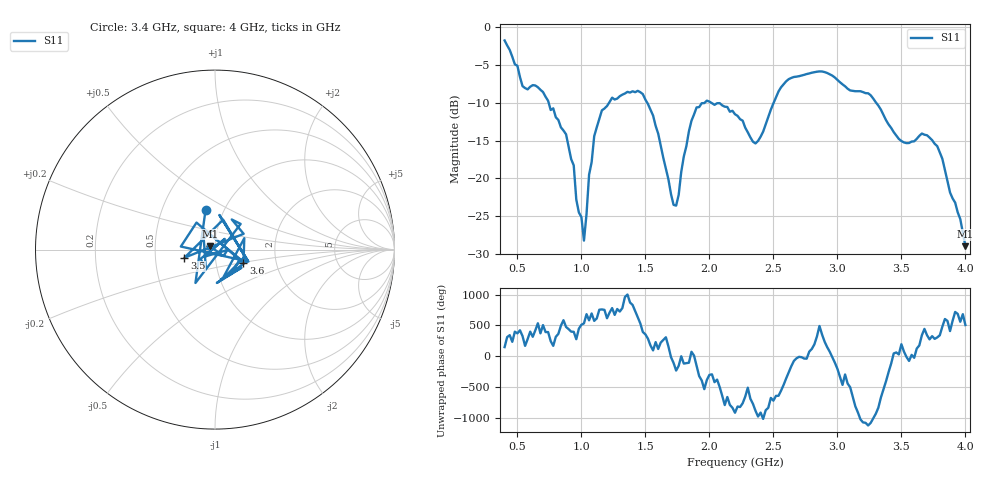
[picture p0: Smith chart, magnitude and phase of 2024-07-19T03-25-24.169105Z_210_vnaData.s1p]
!Created with skrf (http://scikit-rf.org).
# Hz S RI R 50.0
!freq ReS11 ImS11
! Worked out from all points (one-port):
!   181 points, 400 MHz to 4 GHz, reference 50 ohm
!   lowest |S11| = -29.0 dB at 4 GHz (marker M1), VSWR 1.07, Z = 47.1 + j1.89 ohm
!   |S11| at or under -10 dB: 744.2 MHz to 1.216 GHz (472 MHz wide, 48.2 % of centre); 2.015 GHz to 2.502 GHz (486.9 MHz wide, 21.6 % of centre); 3.303 GHz to end of sweep (the widest 3 of 4)
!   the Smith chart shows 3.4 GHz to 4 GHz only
!   S11 on the Smith chart (normalised r, x): 3.4 GHz: 0.82, +0.38; 3.5 GHz: 0.71, -0.07; 3.6 GHz: 1.36, -0.21; 4 GHz: 0.94, +0.04
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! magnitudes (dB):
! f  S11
! 400 MHz  -1.7
! 540 MHz  -7.8
! 700 MHz  -8.6
! 860 MHz  -13.7
! 940 MHz  -18.3
! 960 MHz  -22.8
! 1.02 GHz  -28.3
! 1.06 GHz  -19.5
! 1.1 GHz  -14.4
! 1.16 GHz  -11.0
! 1.3 GHz  -9.1
! 1.48 GHz  -8.9
! 1.6 GHz  -14.1
! 1.72 GHz  -23.5
! 1.76 GHz  -22.2
! 1.84 GHz  -13.8
! 1.9 GHz  -10.6
! 2.2 GHz  -11.5
! 2.36 GHz  -15.4
! 2.66 GHz  -6.6
! 3.1 GHz  -8.4
! 3.26 GHz  -9.0
! 3.4 GHz  -12.9
! 3.5 GHz  -15.1
! 3.56 GHz  -15.3
! 3.6 GHz  -15.1
! 3.78 GHz  -15.7
! 4 GHz  -29.0
